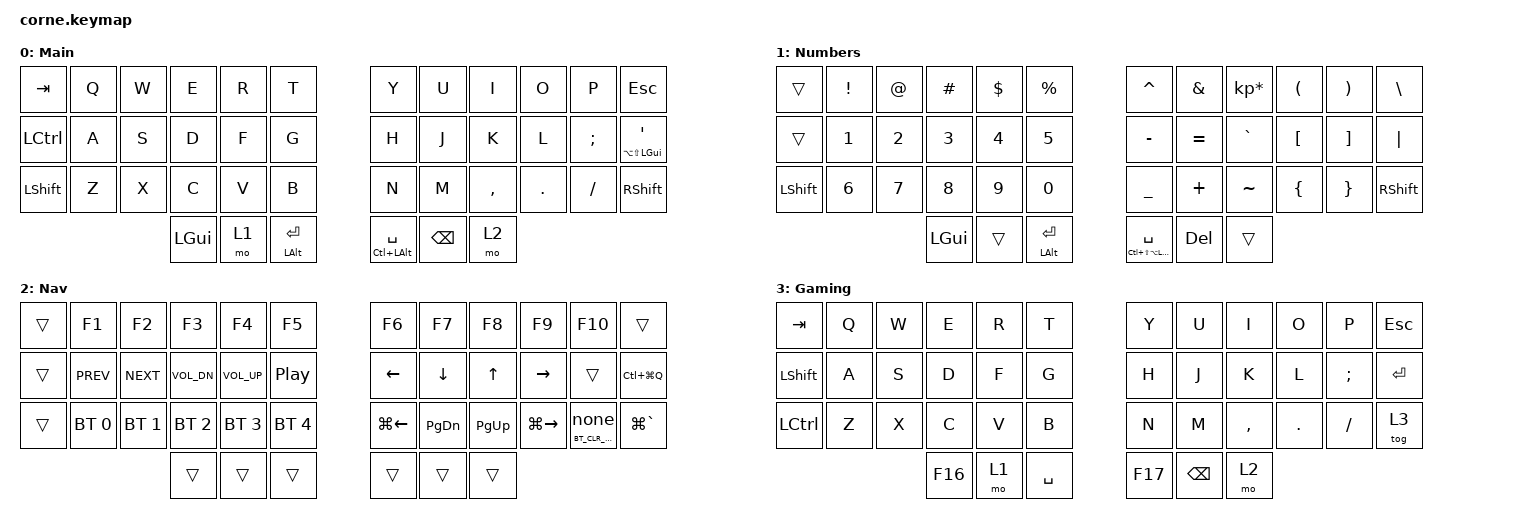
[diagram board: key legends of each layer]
/*
 * Copyright (c) 2020 The ZMK Contributors
 *
 * SPDX-License-Identifier: MIT
 */

#include <behaviors.dtsi>
#include <dt-bindings/zmk/bt.h>
#include <dt-bindings/zmk/keys.h>


/ {
    behaviors {
        tp: tap_preferred {
            compatible = "zmk,behavior-hold-tap";
            label = "TAP_PREFERRED";
            #binding-cells = <2>;
            tapping-term-ms = <250>;
            quick-tap-ms = <0>;
            flavor = "tap-preferred";
            bindings = <&kp>, <&kp>;
        };
        // Hold 2s to fire a &bt command; tap does nothing. A hold-tap can
        // only pass one parameter through, so use the *_CMD macros from
        // dt-bindings/zmk/bt.h, e.g. `&btclr_hold BT_CLR_CMD 0`.
        btclr_hold: btclr_hold {
            compatible = "zmk,behavior-hold-tap";
            label = "BTCLR_HOLD";
            #binding-cells = <2>;
            tapping-term-ms = <2000>;
            quick-tap-ms = <0>;
            flavor = "tap-preferred";
            bindings = <&bt>, <&none>;
        };

        gaming_hold_bt4: gaming_hold_bt4 {
            compatible = "zmk,behavior-hold-tap";
            label = "GAMING_HOLD_BT4";
            #binding-cells = <2>;
            tapping-term-ms = <2000>;
            quick-tap-ms = <0>;
            flavor = "tap-preferred";
            bindings = <&tog>, <&bt>;
        };
    };

    keymap {
        compatible = "zmk,keymap";

        default_layer {
            label = "Main";

            // -----------------------------------------------------------------------------------------
            // | TAB  |  Q  |  W  |  E  |  R  |    T    |   |  Y  |  U   |  I  |  O  |  P  | ESC |
            // | CTRL |  A  |  S  |  D  |  F  |    G    |   |  H  |  J   |  K  |  L  |  ;  |  '   |
            // | SHFT |  Z  |  X  |  C  |  V  |    B    |   |  N  |  M   |  ,  |  .  |  /  | SHFT |
            //                    | GUI | LWR | ALT/ENT |   | HYPER/SPC | BKSP  | RSE |

            bindings = <
&kp TAB    &kp Q  &kp W  &kp E     &kp R  &kp T           &kp Y                   &kp U     &kp I      &kp O    &kp P     &kp ESC
&kp LCTRL  &kp A  &kp S  &kp D     &kp F  &kp G           &kp H                   &kp J     &kp K      &kp L    &kp SEMI  &tp LA(LS(LEFT_GUI)) SQT
&kp LSHFT  &kp Z  &kp X  &kp C     &kp V  &kp B           &kp N                   &kp M     &kp COMMA  &kp DOT  &kp FSLH  &kp RSHFT
                         &kp LGUI  &mo 1  &tp LALT RET    &tp LC(LEFT_ALT) SPACE  &kp BSPC  &mo 2
            >;
        };

        numbers {
            label = "Numbers";

            // -----------------------------------------------------------------------------------------
            // |      |  !  |  @  |  #  |  $  |    %     |   |  ^  |  &  |  *  |  (  |  )  |   \   |
            // |      |  1  |  2  |  3  |  4  |    5     |   |  -  |  =  |  `  |  [  |  ]  |  "|"  |
            // | SHFT |  6  |  7  |  8  |  9  |    0     |   |  _  |  +  |  ~  |  {  |  }  | RSHFT |
            //                     | GUI |     | ALT/ENT |   | HYPER/SPACE | BKSP |    |

            bindings = <
&trans     &kp EXCL  &kp AT  &kp HASH  &kp DLLR  &kp PRCNT       &kp CARET                   &kp AMPS   &kp KP_MULTIPLY  &kp LPAR  &kp RPAR  &kp BSLH
&trans     &kp N1    &kp N2  &kp N3    &kp N4    &kp N5          &kp MINUS                   &kp EQUAL  &kp GRAVE        &kp LBKT  &kp RBKT  &kp PIPE
&kp LSHFT  &kp N6    &kp N7  &kp N8    &kp N9    &kp N0          &kp UNDER                   &kp PLUS   &kp TILDE        &kp LBRC  &kp RBRC  &kp RSHFT
                             &kp LGUI  &trans    &tp LALT RET    &tp LC(LS(LA(LGUI))) SPACE  &kp DEL    &trans
            >;
        };

        nav {
            label = "Nav";

            // -----------------------------------------------------------------------------------------
            // |       |  F1  |  F2  |  F3  |  F4  |  F5 |            |  F6  |  F7  |  F8  |  F9  |  F10  |   |
            // |       | Prev | Next | Vol - | Vol + | Play/Pause |   |      | LFT | DWN |  UP | RGT |     |     |
            // | SHFT  | BT1  | BT2  | BT3  | BT4  | BT5 |   | Cmd+← | PgDn | PgUp | Cmd+→ | BTCLR (hold 2s) | Cmd+` |
            //                    |     |     |    |                  |     |     |     |

            bindings = <
&trans  &kp F1        &kp F2        &kp F3        &kp F4                        &kp F5                          &kp F6              &kp F7         &kp F8     &kp F9               &kp F10         &trans
&trans  &kp C_PREV    &kp C_NEXT    &kp C_VOL_DN  &kp C_VOL_UP                  &kp C_PP                        &kp LEFT            &kp DOWN       &kp UP     &kp RIGHT            &trans          &kp LC(LG(Q))
&trans  &bt BT_SEL 0  &bt BT_SEL 1  &bt BT_SEL 2  &bt BT_SEL 3  &bt BT_SEL 4  &kp LG(LEFT_ARROW)  &kp PAGE_DOWN  &kp PG_UP  &kp LG(RIGHT_ARROW)  &btclr_hold BT_CLR_CMD 0  &kp LG(GRAVE)
                                    &trans        &trans                        &trans                          &trans              &trans         &trans
            >;
        };

        gaming {
            label = "Gaming";

            // -----------------------------------------------------------------------------------------
            // | TAB |  Q  |  W  |  E  |  R  |  T  |   |  Y  |  U  |  I  |  O  |  P  | ESC |
            // | SHFT|  A  |  S  |  D  |  F  |  G  |   |  H  |  J  |  K  |  L  |  ;  | ENTER |
            // | CTRL|  Z  |  X  |  C  |  V  |  B  |   |  N  |  M  |  ,  |  .  |  /  | TOGGLE |
            //             | ALT | NUM | SPC |       | SPC | BSPC | NAV |

            bindings = <
&kp TAB    &kp Q  &kp W  &kp E      &kp R   &kp T        &kp Y      &kp U     &kp I      &kp O    &kp P     &kp ESC
&kp LSHFT  &kp A  &kp S  &kp D      &kp F   &kp G        &kp H      &kp J     &kp K      &kp L    &kp SEMI  &kp ENTER
&kp LCTRL  &kp Z  &kp X  &kp C      &kp V   &kp B        &kp N      &kp M     &kp COMMA  &kp DOT  &kp FSLH  &tog 3
                         &kp F16    &mo 1   &kp SPACE    &kp F17    &kp BSPC  &mo 2
            >;
        };
    };
};
